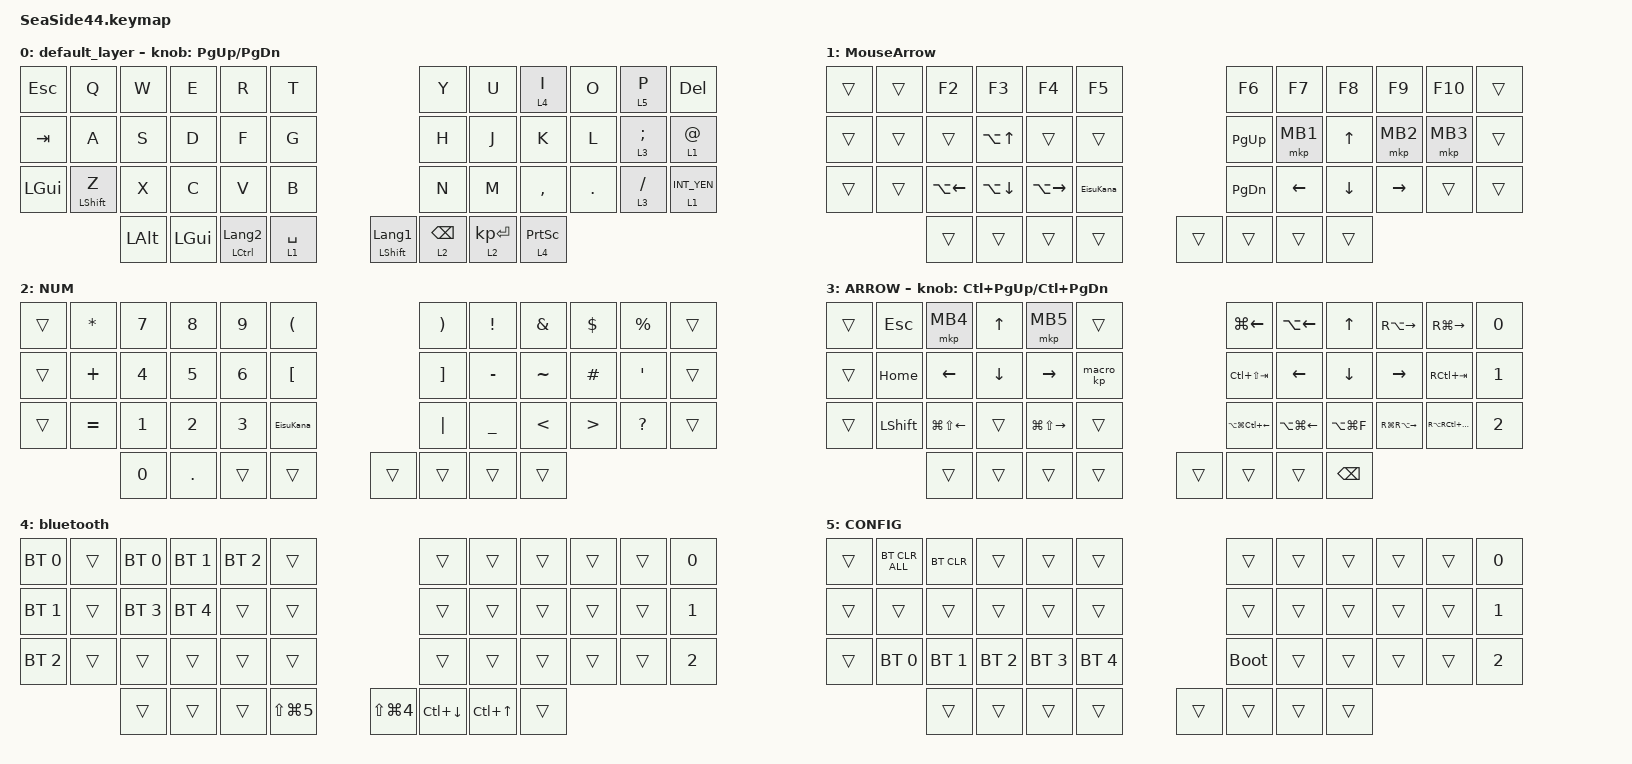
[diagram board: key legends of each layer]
#include <behaviors.dtsi>
#include <dt-bindings/zmk/bt.h>
#include <dt-bindings/zmk/keys.h>
#include <dt-bindings/zmk/pointing.h>

#define MOUSE 4
#define SCROLL 5
#define NUM 6

/* ---- JIS symbols ---- */

#define JP_YEN          0x89
#define JP_PIPE         LS(0x89)
#define JP_UNDERSCORE   LS(0x87)

/* --------------------- */

&mt {
    flavor = "balanced";
    quick-tap-ms = <300>;
};

&lt {
    flavor = "balanced";
    quick-tap-ms = <300>;
};

/ {
    combos { compatible = "zmk,combos"; };

    macros {
        macro_kp: to_layer_0 {
            compatible = "zmk,behavior-macro";
            #binding-cells = <0>;
            bindings = <&kp NUMBER_6 &kp NUMBER_2 &kp LS(B) &kp LS(X) &kp NUMBER_2 &kp H &kp NUMBER_2 &kp LS(R)>;
            label = "TO_LAYER_0";
        };

        new_macro: new_macro {
            compatible = "zmk,behavior-macro";
            #binding-cells = <0>;
            bindings = <&none>;
            label = "NEW_MACRO";
        };
    };

    behaviors {
        lt_to_layer_0: lt_to_layer_0 {
            compatible = "zmk,behavior-hold-tap";
            label = "LAYER_TAP_TO_0";
            bindings = <&mo>, <&macro_kp>;

            #binding-cells = <2>;
            tapping-term-ms = <200>;
        };

        EisuKana: EisuKana {
            compatible = "zmk,behavior-tap-dance";
            label = "Eisu / Kana";
            #binding-cells = <0>;
            bindings = <&kp LANGUAGE_1 &kp LANGUAGE_2>;
        };
    };

    keymap {
        compatible = "zmk,keymap";

        default_layer {
            bindings = <
&kp ESCAPE    &kp Q             &kp W         &kp E         &kp R                 &kp T                                                      &kp Y           &kp U  &lt 4 I            &kp O       &lt 5 P          &kp DEL
&kp TAB       &kp A             &kp S         &kp D         &kp F                 &kp G                                                      &kp H           &kp J  &kp K              &kp L       &lt 3 SEMICOLON  &lt 1 AT_SIGN
&kp LEFT_GUI  &mt LEFT_SHIFT Z  &kp X         &kp C         &kp V                 &kp B                                                      &kp N           &kp M  &kp COMMA          &kp PERIOD  &lt 3 SLASH      &lt 1 INT_YEN
                                &kp LEFT_ALT  &kp LEFT_GUI  &mt LCTRL LANGUAGE_2  &lt 1 SPACE  &mt LEFT_SHIFT LANGUAGE_1    &lt 2 BACKSPACE  &lt 2 KP_ENTER         &lt 4 PRINTSCREEN
            >;

            sensor-bindings = <&inc_dec_kp PG_UP PAGE_DOWN>;
        };

        MouseArrow {
            bindings = <
&trans  &trans  &kp F2              &kp F3              &kp F4               &kp F5                       &kp F6         &kp F7    &kp F8        &kp F9           &kp F10   &trans
&trans  &trans  &trans              &kp LA(UP_ARROW)    &trans               &trans                       &kp PG_UP      &mkp MB1  &kp UP_ARROW  &mkp MB2         &mkp MB3  &trans
&trans  &trans  &kp LA(LEFT_ARROW)  &kp LA(DOWN_ARROW)  &kp LA(RIGHT_ARROW)  &EisuKana                    &kp PAGE_DOWN  &kp LEFT  &kp DOWN      &kp RIGHT_ARROW  &trans    &trans
                &trans              &trans              &trans               &trans     &trans    &trans  &trans                   &trans
            >;
        };

        NUM {
            bindings = <
&trans  &kp ASTERISK  &kp N7        &kp N8        &kp N9        &kp LEFT_PARENTHESIS                    &kp RIGHT_PARENTHESIS  &kp EXCLAMATION  &kp AMPERSAND  &kp DOLLAR        &kp PERCENT       &trans
&trans  &kp PLUS      &kp NUMBER_4  &kp N5        &kp NUMBER_6  &kp LEFT_BRACKET                        &kp RIGHT_BRACKET      &kp MINUS        &kp TILDE      &kp HASH          &kp SINGLE_QUOTE  &trans
&trans  &kp EQUAL     &kp NUMBER_1  &kp NUMBER_2  &kp NUMBER_3  &EisuKana                               &kp PIPE               &kp UNDERSCORE   &kp LESS_THAN  &kp GREATER_THAN  &kp QUESTION      &trans
                      &kp N0        &kp PERIOD    &trans        &trans                &trans    &trans  &trans                                  &trans
            >;
        };

        ARROW {
            bindings = <
&trans  &kp ESCAPE      &mkp MB4                &kp UP_ARROW    &mkp MB5                 &trans                       &kp LG(LEFT_ARROW)          &kp LA(LEFT_ARROW)      &kp UP_ARROW    &kp RA(RIGHT_ARROW)      &kp RG(RIGHT_ARROW)          &kp N0
&trans  &kp HOME        &kp LEFT_ARROW          &kp DOWN_ARROW  &kp RIGHT_ARROW          &macro_kp                    &kp LC(LS(TAB))             &kp LEFT_ARROW          &kp DOWN_ARROW  &kp RIGHT_ARROW          &kp RC(TAB)                  &kp N1
&trans  &kp LEFT_SHIFT  &kp LG(LS(LEFT_ARROW))  &trans          &kp LG(LS(RIGHT_ARROW))  &trans                       &kp LA(LG(LC(LEFT_ARROW)))  &kp LA(LG(LEFT_ARROW))  &kp LA(LG(F))   &kp RG(RA(RIGHT_ARROW))  &kp RA(RC(RG(RIGHT_ARROW)))  &kp N2
                        &trans                  &trans          &trans                   &trans     &trans    &trans  &trans                                              &kp BACKSPACE
            >;

            sensor-bindings = <&inc_dec_kp LC(PAGE_UP) LC(PAGE_DOWN)>;
        };

        bluetooth {
            bindings = <
&bt BT_SEL 0  &trans  &bt BT_SEL 0  &bt BT_SEL 1  &bt BT_SEL 2  &trans                                          &trans            &trans  &trans  &trans  &trans  &kp N0
&bt BT_SEL 1  &trans  &bt BT_SEL 3  &bt BT_SEL 4  &trans        &trans                                          &trans            &trans  &trans  &trans  &trans  &kp N1
&bt BT_SEL 2  &trans  &trans        &trans        &trans        &trans                                          &trans            &trans  &trans  &trans  &trans  &kp N2
                      &trans        &trans        &trans        &kp LS(LG(N5))  &kp LS(LG(N4))    &kp LC(DOWN)  &kp LC(UP_ARROW)          &trans
            >;
        };

        CONFIG {
            bindings = <
&trans  &bt BT_CLR_ALL  &bt BT_CLR    &trans        &trans        &trans                          &trans       &trans  &trans  &trans  &trans  &kp N0
&trans  &trans          &trans        &trans        &trans        &trans                          &trans       &trans  &trans  &trans  &trans  &kp N1
&trans  &bt BT_SEL 0    &bt BT_SEL 1  &bt BT_SEL 2  &bt BT_SEL 3  &bt BT_SEL 4                    &bootloader  &trans  &trans  &trans  &trans  &kp N2
                        &trans        &trans        &trans        &trans        &trans    &trans  &trans               &trans
            >;
        };
    };
};
